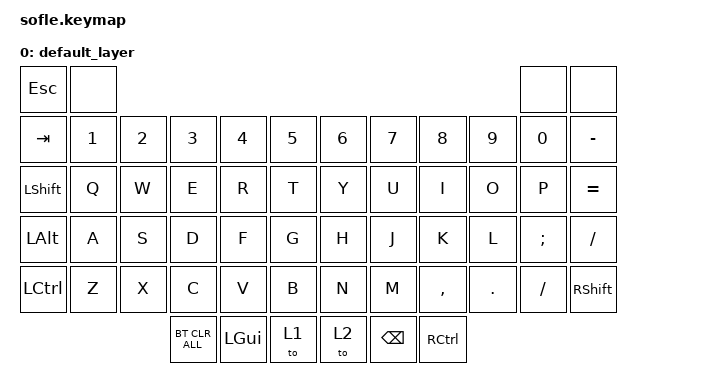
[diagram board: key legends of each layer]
/*
 * Copyright (c) 2020 The ZMK Contributors
 *
 * SPDX-License-Identifier: MIT
 */

#include <behaviors.dtsi>
#include <dt-bindings/zmk/keys.h>
#include <dt-bindings/zmk/bt.h>
#include <dt-bindings/zmk/ext_power.h>

/ {
    keymap {
        compatible = "zmk,keymap";

         default_layer {
            bindings = <
&kp ESC    &none                                                                                   &none     &none
&kp TAB    &kp N1  &kp N2  &kp N3          &kp N4    &kp N5  &kp N6  &kp N7    &kp N8     &kp N9   &kp N0    &kp MINUS
&kp LSHFT  &kp Q   &kp W   &kp E           &kp R     &kp T   &kp Y   &kp U     &kp I      &kp O    &kp P     &kp EQUAL
&kp LALT   &kp A   &kp S   &kp D           &kp F     &kp G   &kp H   &kp J     &kp K      &kp L    &kp SEMI  &kp FSLH
&kp LCTRL  &kp Z   &kp X   &kp C           &kp V     &kp B   &kp N   &kp M     &kp COMMA  &kp DOT  &kp FSLH  &kp RSHFT
                           &bt BT_CLR_ALL  &kp LGUI  &to 1   &to 2   &kp BSPC  &kp RCTRL
            >;
        };
};
